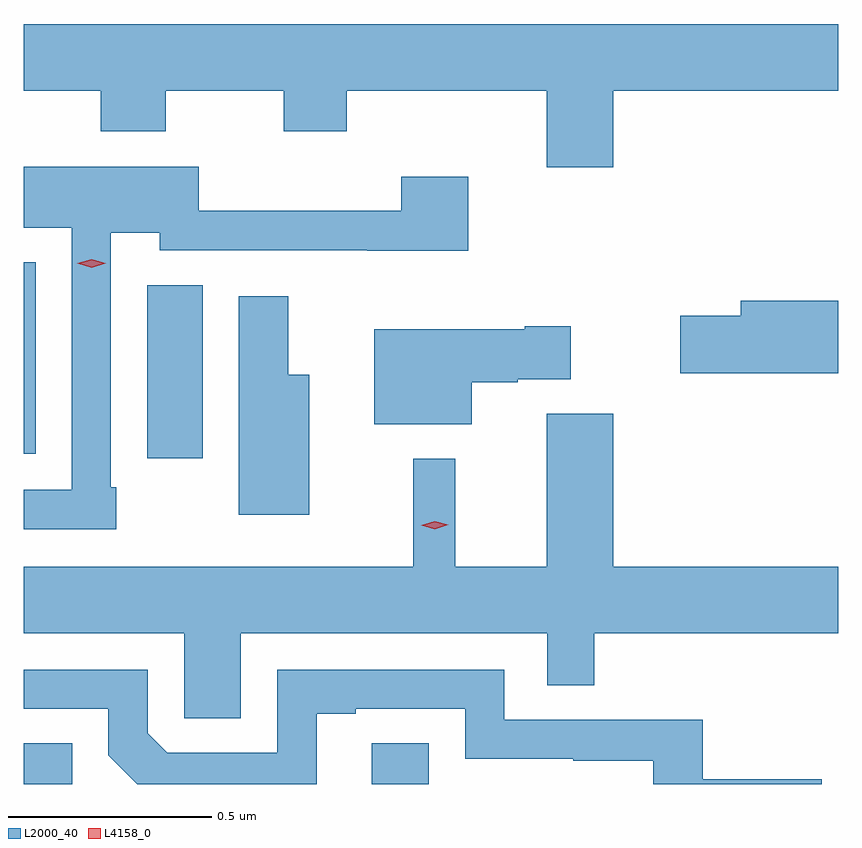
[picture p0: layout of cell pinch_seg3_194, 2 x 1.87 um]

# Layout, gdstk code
import gdstk
lib = gdstk.Library(unit=1e-6, precision=1e-09)
def R(c, l, rs):  # rectangles x0, y0, x1, y1
    for r in rs: c.add(gdstk.rectangle(r[:2], r[2:], *l))
def P(c, l, *ps):  # polygons
    for p in ps: c.add(gdstk.Polygon(p, *l))
L2000_40 = (2000, 40)
L4158_0 = (4158, 0)

pinch_seg3_194 = lib.new_cell('pinch_seg3_194')
R(pinch_seg3_194, L2000_40, [(978.908,729.85,979.027,729.95), (979.763,729.85,979.903,729.95), (979.211,730.65,979.348,731.075), (978.908,730.661,978.937,731.131)])
P(pinch_seg3_194, L2000_40, [(980.356,731.552),(980.908,731.552),(980.908,731.716),(978.908,731.716),(978.908,731.552),(979.097,731.552),(979.097,731.453),(979.257,731.453),(979.257,731.552),(979.546,731.552),(979.546,731.453),(979.701,731.453),(979.701,731.552),(980.192,731.552),(980.192,731.364),(980.356,731.364)],
  [(979.135,730.579),(979.122,730.579),(979.122,731.204),(979.242,731.204),(979.242,731.16),(979.751,731.16),(979.751,731.159),(980,731.159),(980,731.341),(979.835,731.341),(979.835,731.258),(979.338,731.258),(979.338,731.365),(978.908,731.365),(978.908,731.216),(979.026,731.216),(979.026,730.572),(978.908,730.572),(978.908,730.476),(979.135,730.476)],
  [(979.609,730.855),(979.558,730.855),(979.558,731.047),(979.436,731.047),(979.436,730.511),(979.609,730.511)],
  [(980.908,731.036),(980.669,731.036),(980.669,731),(980.52,731),(980.52,730.858),(980.908,730.858)],
  [(980.008,730.837),(980.121,730.837),(980.121,730.844),(980.251,730.844),(980.251,730.974),(980.138,730.974),(980.138,730.966),(979.769,730.966),(979.769,730.733),(980.008,730.733)],
  [(978.908,730.22),(979.302,730.22),(979.302,730.012),(979.441,730.012),(979.441,730.22),(980.193,730.22),(980.193,730.093),(980.309,730.093),(980.309,730.22),(980.908,730.22),(980.908,730.384),(980.356,730.384),(980.356,730.759),(980.192,730.759),(980.192,730.384),(979.968,730.384),(979.968,730.648),(979.864,730.648),(979.864,730.384),(978.908,730.384)],
  [(979.627,730.023),(979.723,730.023),(979.723,730.035),(979.992,730.035),(979.992,729.912),(980.257,729.912),(980.257,729.907),(980.454,729.907),(980.454,729.85),(980.868,729.85),(980.868,729.862),(980.575,729.862),(980.575,730.008),(980.088,730.008),(980.088,730.131),(979.53,730.131),(979.53,729.927),(979.26,729.927),(979.212,729.975),(979.212,730.131),(978.908,730.131),(978.908,730.035),(979.116,730.035),(979.116,729.921),(979.187,729.85),(979.627,729.85)])
P(pinch_seg3_194, L4158_0, [(979.917,730.475),(979.884,730.485),(979.883,730.485),(979.884,730.485),(979.917,730.495),(979.95,730.486),(979.95,730.486),(979.95,730.486)],
  [(979.075,731.118),(979.04,731.128),(979.04,731.128),(979.04,731.128),(979.075,731.138),(979.11,731.128),(979.11,731.128),(979.11,731.128)])

lib.write_gds('pinch_seg3_194.gds')
